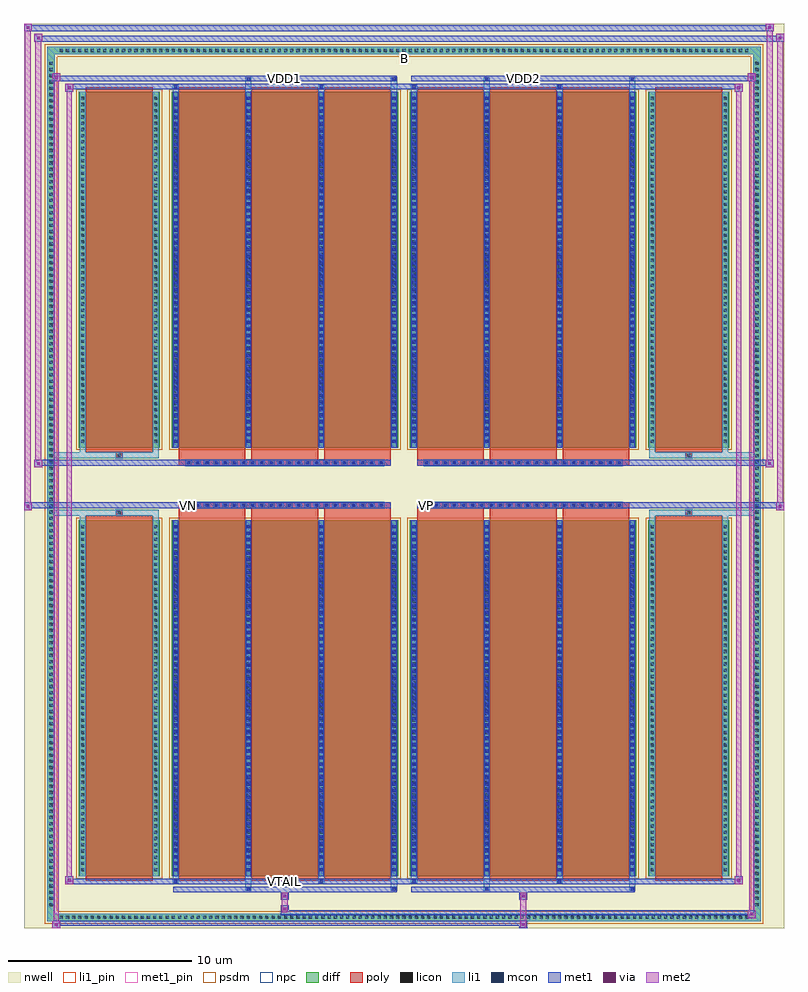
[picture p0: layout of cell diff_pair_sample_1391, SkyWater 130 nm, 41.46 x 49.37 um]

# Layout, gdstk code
import gdstk
lib = gdstk.Library(unit=1e-6, precision=5e-09)
def R(c, l, rs):  # rectangles x0, y0, x1, y1
    for r in rs: c.add(gdstk.rectangle(r[:2], r[2:], *l))
def A(c, l, x, y, w, h, nx, ny, dx, dy):  # array of equal rectangles
    R(c, l, [(x+i*dx, y+j*dy, x+i*dx+w, y+j*dy+h) for i in range(nx) for j in range(ny)])
def P(c, l, *ps):  # polygons
    for p in ps: c.add(gdstk.Polygon(p, *l))
nwell = (64, 20)
diff = (65, 20)
poly = (66, 20)
licon = (66, 44)
li1_pin = (67, 16)
li1 = (67, 20)
mcon = (67, 44)
met1_pin = (68, 16)
met1 = (68, 20)
via = (68, 44)
met2 = (69, 20)
psdm = (94, 20)
npc = (95, 20)

diff_pair_sample_1391 = lib.new_cell('diff_pair_sample_1391')
R(diff_pair_sample_1391, nwell, [(-20.73,-24.25,20.73,25.12), (-18.05,-22.44,-0.01,-0.8), (0.01,-22.44,18.05,-0.8), (-18.05,0.8,-0.01,22.44), (0.01,0.8,18.05,22.44)])
A(diff_pair_sample_1391, diff, -18.905, -23.85, 0.41, 0.41, 111, 2, 0.34, 47.29)
A(diff_pair_sample_1391, diff, -19.46, -23.155, 0.41, 0.41, 1, 136, 0, 0.34)
A(diff_pair_sample_1391, diff, 19.05, -23.155, 0.41, 0.41, 1, 136, 0, 0.34)
R(diff_pair_sample_1391, diff, [(-18.905,-23.85,18.905,-23.44), (-19.46,-23.155,-19.05,23.155), (19.05,-23.155,19.46,23.155), (-17.74,-21.395,-13.32,-1.985), (-12.68,-21.395,-0.32,-1.985), (0.32,-21.395,12.68,-1.985), (13.32,-21.395,17.74,-1.985), (-17.74,1.985,-13.32,21.395), (-12.68,1.985,-0.32,21.395), (0.32,1.985,12.68,21.395), (13.32,1.985,17.74,21.395), (-18.905,23.44,18.905,23.85)])
P(diff_pair_sample_1391, diff, [(19.46,23.85),(-19.46,23.85),(-19.46,-23.44),(-19.05,-23.44),(-19.05,23.44),(19.05,23.44),(19.05,-23.44),(-19.05,-23.44),(-19.46,-23.44),(-19.46,-23.85),(19.46,-23.85)])
A(diff_pair_sample_1391, poly, -12.29, -21.645, 3.64, 19.91, 3, 2, 3.97, 23.38)
A(diff_pair_sample_1391, poly, 0.71, -21.645, 3.64, 19.91, 3, 2, 3.97, 23.38)
A(diff_pair_sample_1391, poly, -12.29, -1.735, 3.64, 0.405, 3, 2, 3.97, 3.065)
A(diff_pair_sample_1391, poly, 0.71, -1.735, 3.64, 0.405, 3, 2, 3.97, 3.065)
A(diff_pair_sample_1391, poly, -11.915, -1.33, 0.33, 0.33, 22, 2, 0.5, 2.33)
A(diff_pair_sample_1391, poly, 1.085, -1.33, 0.33, 0.33, 22, 2, 0.5, 2.33)
R(diff_pair_sample_1391, poly, [(-17.35,-21.645,-13.71,-1.735), (13.71,-21.645,17.35,-1.735), (-15.695,-1.735,-15.365,-1.405), (-15.695,-1.735,-15.365,-1.405), (15.365,-1.735,15.695,-1.405), (15.365,-1.735,15.695,-1.405), (-12.29,-1.33,-0.71,-1), (0.71,-1.33,12.29,-1), (-12.29,1,-0.71,1.33), (0.71,1,12.29,1.33), (-15.695,1.405,-15.365,1.735), (-15.695,1.405,-15.365,1.735), (15.365,1.405,15.695,1.735), (15.365,1.405,15.695,1.735), (-17.35,1.735,-13.71,21.645), (13.71,1.735,17.35,21.645)])
A(diff_pair_sample_1391, licon, -18.785, -23.73, 0.17, 0.17, 111, 2, 0.34, 47.29)
A(diff_pair_sample_1391, licon, -19.34, -23.035, 0.17, 0.17, 1, 136, 0, 0.34)
A(diff_pair_sample_1391, licon, 19.17, -23.035, 0.17, 0.17, 1, 136, 0, 0.34)
A(diff_pair_sample_1391, licon, -17.6, -21.125, 0.17, 0.17, 1, 56, 0, 0.34)
A(diff_pair_sample_1391, licon, -13.63, -21.125, 0.17, 0.17, 1, 56, 0, 0.34)
A(diff_pair_sample_1391, licon, -12.54, -21.125, 0.17, 0.17, 4, 56, 3.97, 0.34)
A(diff_pair_sample_1391, licon, 0.46, -21.125, 0.17, 0.17, 4, 56, 3.97, 0.34)
A(diff_pair_sample_1391, licon, 13.46, -21.125, 0.17, 0.17, 1, 56, 0, 0.34)
A(diff_pair_sample_1391, licon, 17.43, -21.125, 0.17, 0.17, 1, 56, 0, 0.34)
A(diff_pair_sample_1391, licon, -11.835, -1.25, 0.17, 0.17, 22, 2, 0.5, 2.33)
A(diff_pair_sample_1391, licon, 1.165, -1.25, 0.17, 0.17, 22, 2, 0.5, 2.33)
A(diff_pair_sample_1391, licon, -17.6, 2.255, 0.17, 0.17, 1, 56, 0, 0.34)
A(diff_pair_sample_1391, licon, -13.63, 2.255, 0.17, 0.17, 1, 56, 0, 0.34)
A(diff_pair_sample_1391, licon, -12.54, 2.255, 0.17, 0.17, 4, 56, 3.97, 0.34)
A(diff_pair_sample_1391, licon, 0.46, 2.255, 0.17, 0.17, 4, 56, 3.97, 0.34)
A(diff_pair_sample_1391, licon, 13.46, 2.255, 0.17, 0.17, 1, 56, 0, 0.34)
A(diff_pair_sample_1391, licon, 17.43, 2.255, 0.17, 0.17, 1, 56, 0, 0.34)
R(diff_pair_sample_1391, licon, [(-15.615,-1.655,-15.445,-1.485), (15.445,-1.655,15.615,-1.485), (-15.615,1.485,-15.445,1.655), (15.445,1.485,15.615,1.655)])
R(diff_pair_sample_1391, li1_pin, [(-0.25,22.94,0.25,23.44)])
A(diff_pair_sample_1391, li1, -18.865, -23.81, 0.33, 0.33, 111, 2, 0.34, 47.29)
A(diff_pair_sample_1391, li1, -19.42, -23.115, 0.33, 0.33, 1, 136, 0, 0.34)
A(diff_pair_sample_1391, li1, 19.09, -23.115, 0.33, 0.33, 1, 136, 0, 0.34)
A(diff_pair_sample_1391, li1, -12.62, -21.395, 0.33, 19.41, 4, 2, 3.97, 23.38)
A(diff_pair_sample_1391, li1, 0.38, -21.395, 0.33, 19.41, 4, 2, 3.97, 23.38)
A(diff_pair_sample_1391, li1, -17.68, -21.205, 0.33, 0.33, 1, 56, 0, 0.34)
A(diff_pair_sample_1391, li1, -13.71, -21.205, 0.33, 0.33, 1, 56, 0, 0.34)
A(diff_pair_sample_1391, li1, -12.62, -21.205, 0.33, 0.33, 4, 56, 3.97, 0.34)
A(diff_pair_sample_1391, li1, 0.38, -21.205, 0.33, 0.33, 4, 56, 3.97, 0.34)
A(diff_pair_sample_1391, li1, 13.38, -21.205, 0.33, 0.33, 1, 56, 0, 0.34)
A(diff_pair_sample_1391, li1, 17.35, -21.205, 0.33, 0.33, 1, 56, 0, 0.34)
A(diff_pair_sample_1391, li1, -12.54, -21.135, 0.17, 0.17, 4, 53, 3.97, 0.36)
A(diff_pair_sample_1391, li1, -12.54, -21.135, 0.17, 18.89, 4, 2, 3.97, 23.38)
A(diff_pair_sample_1391, li1, 0.46, -21.135, 0.17, 0.17, 4, 53, 3.97, 0.36)
A(diff_pair_sample_1391, li1, 0.46, -21.135, 0.17, 18.89, 4, 2, 3.97, 23.38)
A(diff_pair_sample_1391, li1, -11.915, -1.33, 0.33, 0.33, 22, 2, 0.5, 2.33)
A(diff_pair_sample_1391, li1, 1.085, -1.33, 0.33, 0.33, 22, 2, 0.5, 2.33)
A(diff_pair_sample_1391, li1, -17.68, 2.175, 0.33, 0.33, 1, 56, 0, 0.34)
A(diff_pair_sample_1391, li1, -13.71, 2.175, 0.33, 0.33, 1, 56, 0, 0.34)
A(diff_pair_sample_1391, li1, -12.62, 2.175, 0.33, 0.33, 4, 56, 3.97, 0.34)
A(diff_pair_sample_1391, li1, 0.38, 2.175, 0.33, 0.33, 4, 56, 3.97, 0.34)
A(diff_pair_sample_1391, li1, 13.38, 2.175, 0.33, 0.33, 1, 56, 0, 0.34)
A(diff_pair_sample_1391, li1, 17.35, 2.175, 0.33, 0.33, 1, 56, 0, 0.34)
A(diff_pair_sample_1391, li1, -12.54, 2.245, 0.17, 0.17, 4, 53, 3.97, 0.36)
A(diff_pair_sample_1391, li1, 0.46, 2.245, 0.17, 0.17, 4, 53, 3.97, 0.36)
R(diff_pair_sample_1391, li1, [(-19.46,-23.85,-19.05,-23.44), (-19.46,-23.85,-19.05,-23.44), (-19.05,-23.85,19.05,-23.44), (19.05,-23.85,19.46,-23.44), (19.05,-23.85,19.46,-23.44), (-19.46,-23.44,-19.05,23.44), (19.05,-23.44,19.46,23.44), (-8.65,-22.2,-8.32,-21.395), (-8.57,-22.2,-8.4,-22.03), (-0.71,-22.2,-0.38,-21.395), (-0.63,-22.2,-0.46,-22.03), (4.35,-22.2,4.68,-21.395), (4.43,-22.2,4.6,-22.03), (12.29,-22.2,12.62,-21.395), (12.37,-22.2,12.54,-22.03), (-12.62,-21.77,-12.29,-21.395), (-12.54,-21.77,-12.37,-21.6), (-4.68,-21.77,-4.35,-21.395), (-4.6,-21.77,-4.43,-21.6), (0.38,-21.77,0.71,-21.395), (0.46,-21.77,0.63,-21.6), (8.32,-21.77,8.65,-21.395), (8.4,-21.77,8.57,-21.6), (-17.68,-21.395,-17.35,-1.985), (-13.71,-21.395,-13.38,-1.985), (13.38,-21.395,13.71,-1.985), (17.35,-21.395,17.68,-1.985), (-17.68,-1.985,-17.35,-1.405), (-13.71,-1.985,-13.38,-1.405), (13.38,-1.985,13.71,-1.405), (17.35,-1.985,17.68,-1.405), (-19.46,-1.735,-15.695,-1.405), (-17.68,-1.735,-15.695,-1.405), (-15.695,-1.735,-15.365,-1.405), (-15.365,-1.735,-13.38,-1.405), (13.38,-1.735,15.365,-1.405), (15.365,-1.735,15.695,-1.405), (15.365,-1.735,19.46,-1.405), (15.695,-1.735,17.68,-1.405), (-19.46,1.405,-15.695,1.735), (-17.68,1.405,-15.695,1.735), (-17.68,1.405,-17.35,1.985), (-15.695,1.405,-15.365,1.735), (-15.365,1.405,-13.38,1.735), (-13.71,1.405,-13.38,1.985), (13.38,1.405,15.365,1.735), (13.38,1.405,13.71,1.985), (15.365,1.405,15.695,1.735), (15.365,1.405,19.46,1.735), (15.695,1.405,17.68,1.735), (17.35,1.405,17.68,1.985), (-17.68,1.985,-17.35,21.395), (-13.71,1.985,-13.38,21.395), (13.38,1.985,13.71,21.395), (17.35,1.985,17.68,21.395), (-12.62,21.395,-12.29,21.77), (-8.65,21.395,-8.32,22.2), (-4.68,21.395,-4.35,21.77), (-0.71,21.395,-0.38,22.2), (0.38,21.395,0.71,21.77), (4.35,21.395,4.68,22.2), (8.32,21.395,8.65,21.77), (12.29,21.395,12.62,22.2), (-12.54,21.6,-12.37,21.77), (-4.6,21.6,-4.43,21.77), (0.46,21.6,0.63,21.77), (8.4,21.6,8.57,21.77), (-8.57,22.03,-8.4,22.2), (-0.63,22.03,-0.46,22.2), (4.43,22.03,4.6,22.2), (12.37,22.03,12.54,22.2), (-19.46,23.44,-19.05,23.85), (-19.46,23.44,-19.05,23.85), (-19.05,23.44,19.05,23.85), (19.05,23.44,19.46,23.85), (19.05,23.44,19.46,23.85)])
A(diff_pair_sample_1391, mcon, -12.54, -21.135, 0.17, 0.17, 4, 53, 3.97, 0.36)
A(diff_pair_sample_1391, mcon, 0.46, -21.135, 0.17, 0.17, 4, 53, 3.97, 0.36)
A(diff_pair_sample_1391, mcon, -11.835, -1.25, 0.17, 0.17, 22, 2, 0.5, 2.33)
A(diff_pair_sample_1391, mcon, 1.165, -1.25, 0.17, 0.17, 22, 2, 0.5, 2.33)
A(diff_pair_sample_1391, mcon, -12.54, 2.245, 0.17, 0.17, 4, 53, 3.97, 0.36)
A(diff_pair_sample_1391, mcon, 0.46, 2.245, 0.17, 0.17, 4, 53, 3.97, 0.36)
R(diff_pair_sample_1391, mcon, [(-8.57,-22.2,-8.4,-22.03), (-0.63,-22.2,-0.46,-22.03), (4.43,-22.2,4.6,-22.03), (12.37,-22.2,12.54,-22.03), (-12.54,-21.77,-12.37,-21.6), (-4.6,-21.77,-4.43,-21.6), (0.46,-21.77,0.63,-21.6), (8.4,-21.77,8.57,-21.6), (-12.54,21.6,-12.37,21.77), (-4.6,21.6,-4.43,21.77), (0.46,21.6,0.63,21.77), (8.4,21.6,8.57,21.77), (-8.57,22.03,-8.4,22.2), (-0.63,22.03,-0.46,22.2), (4.43,22.03,4.6,22.2), (12.37,22.03,12.54,22.2)])
R(diff_pair_sample_1391, met1_pin, [(-6.635,-21.81,-6.365,-21.54), (-11.885,-1.29,-11.615,-1.02), (1.115,-1.29,1.385,-1.02), (-6.635,21.99,-6.365,22.26), (6.365,21.99,6.635,22.26)])
A(diff_pair_sample_1391, met1, -12.6, -21.395, 0.29, 19.41, 4, 2, 3.97, 23.38)
A(diff_pair_sample_1391, met1, 0.4, -21.395, 0.29, 19.41, 4, 2, 3.97, 23.38)
A(diff_pair_sample_1391, met1, -12.6, -21.195, 0.29, 0.29, 4, 53, 3.97, 0.36)
A(diff_pair_sample_1391, met1, 0.4, -21.195, 0.29, 0.29, 4, 53, 3.97, 0.36)
A(diff_pair_sample_1391, met1, -11.895, -1.31, 0.29, 0.29, 22, 2, 0.5, 2.33)
A(diff_pair_sample_1391, met1, 1.105, -1.31, 0.29, 0.29, 22, 2, 0.5, 2.33)
A(diff_pair_sample_1391, met1, -12.6, 2.185, 0.29, 0.29, 4, 53, 3.97, 0.36)
A(diff_pair_sample_1391, met1, 0.4, 2.185, 0.29, 0.29, 4, 53, 3.97, 0.36)
R(diff_pair_sample_1391, met1, [(-19.19,-24.25,-18.76,-23.82), (6.285,-24.25,6.715,-23.82), (-19.19,-24.11,6.715,-23.82), (18.76,-23.68,19.19,-23.25), (-6.715,-23.54,19.19,-23.25), (-6.715,-23.4,-6.285,-22.97), (-6.715,-22.69,-6.285,-22.26), (6.285,-22.69,6.715,-22.26), (-12.6,-22.26,-0.4,-21.97), (-8.63,-22.26,-8.34,-21.97), (-0.69,-22.26,-0.4,-21.97), (0.4,-22.26,12.6,-21.97), (4.37,-22.26,4.66,-21.97), (12.31,-22.26,12.6,-21.97), (-18.48,-21.83,-18.05,-21.4), (-18.48,-21.83,-12.6,-21.54), (-12.6,-21.83,-12.31,-21.54), (-12.6,-21.83,-0.4,-21.54), (-4.66,-21.83,-4.37,-21.54), (-0.4,-21.83,0.4,-21.54), (0.4,-21.83,0.69,-21.54), (0.4,-21.83,12.6,-21.54), (8.34,-21.83,8.63,-21.54), (12.6,-21.83,18.48,-21.54), (18.05,-21.83,18.48,-21.4), (-20.73,-1.43,-20.3,-1), (20.3,-1.43,20.73,-1), (-20.73,-1.33,-0.71,-1), (-12.29,-1.33,-0.71,-1), (0.71,-1.33,12.29,-1), (0.71,-1.33,20.73,-1), (-20.16,0.9,-19.73,1.33), (19.73,0.9,20.16,1.33), (-20.16,1,-12.29,1.33), (-12.29,1,-0.71,1.33), (0.71,1,12.29,1.33), (12.29,1,20.16,1.33), (-18.48,21.4,-18.05,21.83), (18.05,21.4,18.48,21.83), (-18.48,21.54,-12.6,21.83), (-12.6,21.54,-12.31,21.83), (-12.6,21.54,-0.4,21.83), (-4.66,21.54,-4.37,21.83), (-0.4,21.54,0.4,21.83), (0.4,21.54,0.69,21.83), (0.4,21.54,12.6,21.83), (8.34,21.54,8.63,21.83), (12.6,21.54,18.48,21.83), (-19.19,21.97,-18.76,22.4), (-19.19,21.97,-12.6,22.26), (-12.6,21.97,-0.4,22.26), (-8.63,21.97,-8.34,22.26), (-0.69,21.97,-0.4,22.26), (0.4,21.97,12.6,22.26), (4.37,21.97,4.66,22.26), (12.31,21.97,12.6,22.26), (12.6,21.97,19.19,22.26), (18.76,21.97,19.19,22.4), (-20.16,24.12,-19.73,24.55), (-20.16,24.12,-18.05,24.45), (-18.05,24.12,18.05,24.45), (18.05,24.12,20.73,24.45), (20.3,24.12,20.73,24.55), (-20.73,24.69,-20.3,25.12), (-20.73,24.69,-18.05,25.02), (-18.05,24.69,18.05,25.02), (18.05,24.69,20.16,25.02), (19.73,24.69,20.16,25.12)])
R(diff_pair_sample_1391, via, [(-19.05,-24.11,-18.9,-23.96), (6.425,-24.11,6.575,-23.96), (18.9,-23.54,19.05,-23.39), (-6.575,-23.26,-6.425,-23.11), (-6.575,-22.55,-6.425,-22.4), (6.425,-22.55,6.575,-22.4), (-18.34,-21.69,-18.19,-21.54), (18.19,-21.69,18.34,-21.54), (-20.59,-1.29,-20.44,-1.14), (20.44,-1.29,20.59,-1.14), (-20.02,1.04,-19.87,1.19), (19.87,1.04,20.02,1.19), (-18.34,21.54,-18.19,21.69), (18.19,21.54,18.34,21.69), (-19.05,22.11,-18.9,22.26), (18.9,22.11,19.05,22.26), (-20.02,24.26,-19.87,24.41), (20.44,24.26,20.59,24.41), (-20.59,24.83,-20.44,24.98), (19.87,24.83,20.02,24.98)])
R(diff_pair_sample_1391, met2, [(-19.19,-24.25,-18.76,-23.82), (-19.12,-24.25,-18.83,22.4), (-18.83,-24.25,-18.76,-23.82), (-19.14,-24.2,-18.81,-23.87), (6.335,-24.2,6.665,-23.87), (6.335,-23.87,6.665,-22.64), (18.76,-23.68,19.19,-23.25), (18.83,-23.68,19.12,22.4), (19.12,-23.68,19.19,-23.25), (18.81,-23.63,19.14,-23.3), (-6.665,-23.35,-6.335,-23.02), (-6.665,-23.02,-6.335,-22.64), (-6.665,-22.64,-6.335,-22.31), (6.335,-22.64,6.665,-22.31), (-18.48,-21.83,-18.05,-21.4), (-18.41,-21.83,-18.12,21.83), (-18.12,-21.83,-18.05,-21.4), (18.05,-21.83,18.48,-21.4), (18.12,-21.83,18.41,21.83), (18.41,-21.83,18.48,-21.4), (-18.43,-21.78,-18.1,-21.45), (18.1,-21.78,18.43,-21.45), (-20.73,-1.43,-20.3,-1), (-20.68,-1.43,-20.35,25.12), (-20.35,-1.43,-20.3,-1), (20.3,-1.43,20.73,-1), (20.35,-1.43,20.68,24.55), (20.68,-1.43,20.73,-1), (-20.68,-1.38,-20.35,-1.05), (20.35,-1.38,20.68,-1.05), (-20.16,0.9,-19.73,1.33), (-20.11,0.9,-19.78,24.55), (-19.78,0.9,-19.73,1.33), (19.73,0.9,20.16,1.33), (19.78,0.9,20.11,25.12), (20.11,0.9,20.16,1.33), (-20.11,0.95,-19.78,1.28), (19.78,0.95,20.11,1.28), (-18.48,21.4,-18.05,21.83), (-18.12,21.4,-18.05,21.83), (18.05,21.4,18.48,21.83), (18.41,21.4,18.48,21.83), (-18.43,21.45,-18.1,21.78), (18.1,21.45,18.43,21.78), (-19.19,21.97,-18.76,22.4), (-18.83,21.97,-18.76,22.4), (18.76,21.97,19.19,22.4), (19.12,21.97,19.19,22.4), (-19.14,22.02,-18.81,22.35), (18.81,22.02,19.14,22.35), (-20.16,24.12,-19.73,24.55), (-19.78,24.12,-19.73,24.55), (20.3,24.12,20.73,24.55), (20.68,24.12,20.73,24.55), (-20.11,24.17,-19.78,24.5), (20.35,24.17,20.68,24.5), (-20.73,24.69,-20.3,25.12), (-20.35,24.69,-20.3,25.12), (19.73,24.69,20.16,25.12), (20.11,24.69,20.16,25.12), (-20.68,24.74,-20.35,25.07), (19.78,24.74,20.11,25.07)])
R(diff_pair_sample_1391, psdm, [(-17.87,-21.525,-13.19,-1.855), (-12.81,-21.525,-0.19,-1.855), (0.19,-21.525,12.81,-1.855), (13.19,-21.525,17.87,-1.855), (-17.87,1.855,-13.19,21.525), (-12.81,1.855,-0.19,21.525), (0.19,1.855,12.81,21.525), (13.19,1.855,17.87,21.525)])
P(diff_pair_sample_1391, psdm, [(19.59,23.98),(-19.59,23.98),(-19.59,-23.31),(-18.92,-23.31),(-18.92,23.31),(18.92,23.31),(18.92,-23.31),(-18.92,-23.31),(-19.59,-23.31),(-19.59,-23.98),(19.59,-23.98)])
A(diff_pair_sample_1391, npc, -11.935, -1.35, 0.37, 0.37, 22, 2, 0.5, 2.33)
A(diff_pair_sample_1391, npc, 1.065, -1.35, 0.37, 0.37, 22, 2, 0.5, 2.33)
R(diff_pair_sample_1391, npc, [(-15.715,-1.755,-15.345,-1.385), (15.345,-1.755,15.715,-1.385), (-11.935,-1.35,-11.065,-0.98), (-11.935,-1.35,-11.065,-0.98), (-11.435,-1.35,-10.565,-0.98), (-11.435,-1.35,-10.565,-0.98), (-10.935,-1.35,-10.065,-0.98), (-10.935,-1.35,-10.065,-0.98), (-10.435,-1.35,-9.565,-0.98), (-10.435,-1.35,-9.565,-0.98), (-9.935,-1.35,-9.065,-0.98), (-9.935,-1.35,-9.065,-0.98), (-9.435,-1.35,-8.565,-0.98), (-9.435,-1.35,-8.565,-0.98), (-8.935,-1.35,-8.065,-0.98), (-8.935,-1.35,-8.065,-0.98), (-8.435,-1.35,-7.565,-0.98), (-8.435,-1.35,-7.565,-0.98), (-7.935,-1.35,-7.065,-0.98), (-7.935,-1.35,-7.065,-0.98), (-7.435,-1.35,-6.565,-0.98), (-7.435,-1.35,-6.565,-0.98), (-6.935,-1.35,-6.065,-0.98), (-6.935,-1.35,-6.065,-0.98), (-6.435,-1.35,-5.565,-0.98), (-6.435,-1.35,-5.565,-0.98), (-5.935,-1.35,-5.065,-0.98), (-5.935,-1.35,-5.065,-0.98), (-5.435,-1.35,-4.565,-0.98), (-5.435,-1.35,-4.565,-0.98), (-4.935,-1.35,-4.065,-0.98), (-4.935,-1.35,-4.065,-0.98), (-4.435,-1.35,-3.565,-0.98), (-4.435,-1.35,-3.565,-0.98), (-3.935,-1.35,-3.065,-0.98), (-3.935,-1.35,-3.065,-0.98), (-3.435,-1.35,-2.565,-0.98), (-3.435,-1.35,-2.565,-0.98), (-2.935,-1.35,-2.065,-0.98), (-2.935,-1.35,-2.065,-0.98), (-2.435,-1.35,-1.565,-0.98), (-2.435,-1.35,-1.565,-0.98), (-1.935,-1.35,-1.065,-0.98), (-1.935,-1.35,-1.065,-0.98), (1.065,-1.35,1.935,-0.98), (1.065,-1.35,1.935,-0.98), (1.565,-1.35,2.435,-0.98), (1.565,-1.35,2.435,-0.98), (2.065,-1.35,2.935,-0.98), (2.065,-1.35,2.935,-0.98), (2.565,-1.35,3.435,-0.98), (2.565,-1.35,3.435,-0.98), (3.065,-1.35,3.935,-0.98), (3.065,-1.35,3.935,-0.98), (3.565,-1.35,4.435,-0.98), (3.565,-1.35,4.435,-0.98), (4.065,-1.35,4.935,-0.98), (4.065,-1.35,4.935,-0.98), (4.565,-1.35,5.435,-0.98), (4.565,-1.35,5.435,-0.98), (5.065,-1.35,5.935,-0.98), (5.065,-1.35,5.935,-0.98), (5.565,-1.35,6.435,-0.98), (5.565,-1.35,6.435,-0.98), (6.065,-1.35,6.935,-0.98), (6.065,-1.35,6.935,-0.98), (6.565,-1.35,7.435,-0.98), (6.565,-1.35,7.435,-0.98), (7.065,-1.35,7.935,-0.98), (7.065,-1.35,7.935,-0.98), (7.565,-1.35,8.435,-0.98), (7.565,-1.35,8.435,-0.98), (8.065,-1.35,8.935,-0.98), (8.065,-1.35,8.935,-0.98), (8.565,-1.35,9.435,-0.98), (8.565,-1.35,9.435,-0.98), (9.065,-1.35,9.935,-0.98), (9.065,-1.35,9.935,-0.98), (9.565,-1.35,10.435,-0.98), (9.565,-1.35,10.435,-0.98), (10.065,-1.35,10.935,-0.98), (10.065,-1.35,10.935,-0.98), (10.565,-1.35,11.435,-0.98), (10.565,-1.35,11.435,-0.98), (11.065,-1.35,11.935,-0.98), (11.065,-1.35,11.935,-0.98), (-11.935,0.98,-11.065,1.35), (-11.935,0.98,-11.065,1.35), (-11.435,0.98,-10.565,1.35), (-11.435,0.98,-10.565,1.35), (-10.935,0.98,-10.065,1.35), (-10.935,0.98,-10.065,1.35), (-10.435,0.98,-9.565,1.35), (-10.435,0.98,-9.565,1.35), (-9.935,0.98,-9.065,1.35), (-9.935,0.98,-9.065,1.35), (-9.435,0.98,-8.565,1.35), (-9.435,0.98,-8.565,1.35), (-8.935,0.98,-8.065,1.35), (-8.935,0.98,-8.065,1.35), (-8.435,0.98,-7.565,1.35), (-8.435,0.98,-7.565,1.35), (-7.935,0.98,-7.065,1.35), (-7.935,0.98,-7.065,1.35), (-7.435,0.98,-6.565,1.35), (-7.435,0.98,-6.565,1.35), (-6.935,0.98,-6.065,1.35), (-6.935,0.98,-6.065,1.35), (-6.435,0.98,-5.565,1.35), (-6.435,0.98,-5.565,1.35), (-5.935,0.98,-5.065,1.35), (-5.935,0.98,-5.065,1.35), (-5.435,0.98,-4.565,1.35), (-5.435,0.98,-4.565,1.35), (-4.935,0.98,-4.065,1.35), (-4.935,0.98,-4.065,1.35), (-4.435,0.98,-3.565,1.35), (-4.435,0.98,-3.565,1.35), (-3.935,0.98,-3.065,1.35), (-3.935,0.98,-3.065,1.35), (-3.435,0.98,-2.565,1.35), (-3.435,0.98,-2.565,1.35), (-2.935,0.98,-2.065,1.35), (-2.935,0.98,-2.065,1.35), (-2.435,0.98,-1.565,1.35), (-2.435,0.98,-1.565,1.35), (-1.935,0.98,-1.065,1.35), (-1.935,0.98,-1.065,1.35), (1.065,0.98,1.935,1.35), (1.065,0.98,1.935,1.35), (1.565,0.98,2.435,1.35), (1.565,0.98,2.435,1.35), (2.065,0.98,2.935,1.35), (2.065,0.98,2.935,1.35), (2.565,0.98,3.435,1.35), (2.565,0.98,3.435,1.35), (3.065,0.98,3.935,1.35), (3.065,0.98,3.935,1.35), (3.565,0.98,4.435,1.35), (3.565,0.98,4.435,1.35), (4.065,0.98,4.935,1.35), (4.065,0.98,4.935,1.35), (4.565,0.98,5.435,1.35), (4.565,0.98,5.435,1.35), (5.065,0.98,5.935,1.35), (5.065,0.98,5.935,1.35), (5.565,0.98,6.435,1.35), (5.565,0.98,6.435,1.35), (6.065,0.98,6.935,1.35), (6.065,0.98,6.935,1.35), (6.565,0.98,7.435,1.35), (6.565,0.98,7.435,1.35), (7.065,0.98,7.935,1.35), (7.065,0.98,7.935,1.35), (7.565,0.98,8.435,1.35), (7.565,0.98,8.435,1.35), (8.065,0.98,8.935,1.35), (8.065,0.98,8.935,1.35), (8.565,0.98,9.435,1.35), (8.565,0.98,9.435,1.35), (9.065,0.98,9.935,1.35), (9.065,0.98,9.935,1.35), (9.565,0.98,10.435,1.35), (9.565,0.98,10.435,1.35), (10.065,0.98,10.935,1.35), (10.065,0.98,10.935,1.35), (10.565,0.98,11.435,1.35), (10.565,0.98,11.435,1.35), (11.065,0.98,11.935,1.35), (11.065,0.98,11.935,1.35), (-15.715,1.385,-15.345,1.755), (15.345,1.385,15.715,1.755)])
diff_pair_sample_1391.add(gdstk.Label('VTAIL', (-6.5,-21.675), layer=68, texttype=5))
diff_pair_sample_1391.add(gdstk.Label('VN', (-11.75,-1.155), layer=68, texttype=5))
diff_pair_sample_1391.add(gdstk.Label('VP', (1.25,-1.155), layer=68, texttype=5))
diff_pair_sample_1391.add(gdstk.Label('B', (0,23.19), layer=67, texttype=5))
diff_pair_sample_1391.add(gdstk.Label('VDD2', (6.5,22.125), layer=68, texttype=5))
diff_pair_sample_1391.add(gdstk.Label('VDD1', (-6.5,22.125), layer=68, texttype=5))

lib.write_gds('diff_pair_sample_1391.gds')
